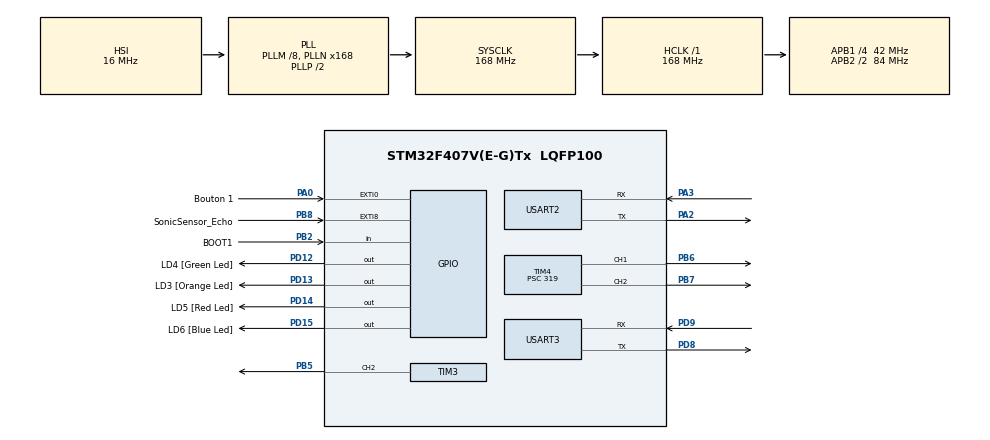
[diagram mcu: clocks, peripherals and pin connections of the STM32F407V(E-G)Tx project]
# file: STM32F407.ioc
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Mcu.Family=STM32F4
Mcu.Name=STM32F407V(E-G)Tx
Mcu.Package=LQFP100
NVIC.EXTI0_IRQn=true\:0\:0\:false\:false\:true\:true\:true\:true
NVIC.EXTI9_5_IRQn=true\:0\:0\:false\:false\:true\:true\:true\:true
NVIC.PriorityGroup=NVIC_PRIORITYGROUP_0
NVIC.TIM6_DAC_IRQn=true\:0\:0\:false\:false\:true\:true\:true\:true
NVIC.USART2_IRQn=true\:0\:0\:false\:false\:true\:true\:true\:true
PA0-WKUP.GPIO_Label=Bouton 1
PA0-WKUP.GPIO_PuPd=GPIO_PULLDOWN
PA0-WKUP.Signal=GPXTI0
PA13.GPIO_Label=SWDIO
PA13.Mode=Serial_Wire
PA13.Signal=SYS_JTMS-SWDIO
PA14.GPIO_Label=SWCLK
PA14.Mode=Serial_Wire
PA14.Signal=SYS_JTCK-SWCLK
PA2.Mode=Asynchronous
PA2.Signal=USART2_TX
PA3.Mode=Asynchronous
PA3.Signal=USART2_RX
PB2.GPIO_Label=BOOT1
PB2.GPIO_Mode=GPIO_MODE_INPUT
PB2.GPIO_PuPd=GPIO_NOPULL
PB2.Signal=GPIO_Input
PB5.Signal=S_TIM3_CH2
PB6.Signal=S_TIM4_CH1
PB7.Signal=S_TIM4_CH2
PB8.GPIO_Label=SonicSensor_Echo
PB8.GPIO_ModeDefaultEXTI=GPIO_MODE_IT_RISING_FALLING
PB8.GPIO_PuPd=GPIO_PULLDOWN
PB8.Signal=GPXTI8
PD12.GPIO_Label=LD4 [Green Led]
PD12.GPIO_PuPd=GPIO_NOPULL
PD12.GPIO_Speed=GPIO_SPEED_FREQ_LOW
PD12.Signal=GPIO_Output
PD13.GPIO_Label=LD3 [Orange Led]
PD13.GPIO_PuPd=GPIO_NOPULL
PD13.GPIO_Speed=GPIO_SPEED_FREQ_LOW
PD13.Signal=GPIO_Output
PD14.GPIO_Label=LD5 [Red Led]
PD14.GPIO_PuPd=GPIO_NOPULL
PD14.GPIO_Speed=GPIO_SPEED_FREQ_LOW
PD14.Signal=GPIO_Output
PD15.GPIO_Label=LD6 [Blue Led]
PD15.GPIO_PuPd=GPIO_NOPULL
PD15.GPIO_Speed=GPIO_SPEED_FREQ_LOW
PD15.Signal=GPIO_Output
PD8.Mode=Asynchronous
PD8.Signal=USART3_TX
PD9.Mode=Asynchronous
PD9.Signal=USART3_RX
ProjectManager.HeapSize=0x200
ProjectManager.StackSize=0x400
ProjectManager.TargetToolchain=Makefile
RCC.48MHZClocksFreq_Value=48000000
RCC.AHBFreq_Value=168000000
RCC.APB1CLKDivider=RCC_HCLK_DIV4
RCC.APB1Freq_Value=42000000
RCC.APB1TimFreq_Value=84000000
RCC.APB2CLKDivider=RCC_HCLK_DIV2
RCC.APB2Freq_Value=84000000
RCC.APB2TimFreq_Value=168000000
RCC.CortexFreq_Value=168000000
RCC.HCLKFreq_Value=168000000
RCC.HSE_VALUE=8000000
RCC.HSI_VALUE=16000000
RCC.LSE_VALUE=32768
RCC.PLLI2SN=50
RCC.PLLM=8
RCC.PLLN=168
RCC.PLLQ=7
RCC.SYSCLKFreq_VALUE=168000000
RCC.SYSCLKSource=RCC_SYSCLKSOURCE_PLLCLK
RCC.VCOOutputFreq_Value=336000000
SH.S_TIM3_CH2.0=TIM3_CH2,PWM Generation2 CH2
SH.S_TIM4_CH1.0=TIM4_CH1,PWM Generation1 CH1
SH.S_TIM4_CH2.0=TIM4_CH2,PWM Generation2 CH2
TIM3.Channel-PWM\ Generation2\ CH2=TIM_CHANNEL_2
TIM3.Period=59999
TIM3.Prescaler=28
TIM4.Channel-PWM\ Generation1\ CH1=TIM_CHANNEL_1
TIM4.Channel-PWM\ Generation2\ CH2=TIM_CHANNEL_2
TIM4.OCPolarity_2=TIM_OCPOLARITY_HIGH
TIM4.Period=65535
TIM4.Prescaler=319
TIM4.Pulse-PWM\ Generation2\ CH2=3
TIM6.Prescaler=2
USART2.VirtualMode=VM_ASYNC
USART3.VirtualMode=VM_ASYNC
VP_TIM6_VS_ClockSourceINT.Mode=Enable_Timer
board=STM32F407G-DISC1

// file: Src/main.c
/* USER CODE BEGIN Header */
/**
 ******************************************************************************
 * @file           : main.c
 * @brief          : Main program body
 ******************************************************************************
 * @attention
 *
 * Copyright (c) 2025 STMicroelectronics.
 * All rights reserved.
 *
 * This software is licensed under terms that can be found in the LICENSE file
 * in the root directory of this software component.
 * If no LICENSE file comes with this software, it is provided AS-IS.
 *
 ******************************************************************************
 */
/* USER CODE END Header */
#include "main.h"
#include "tim.h"
#include "usart.h"
#include "gpio.h"

/* USER CODE BEGIN Includes */
#include "stdio.h"
#include "stdlib.h"
#include "ultra_sonic.h"
#include "leds.h"
#include "servo.h"
#include "serial.h"
#include "string.h"
/* USER CODE END Includes */

/* USER CODE BEGIN PV */
/* USER CODE BEGIN PV */
uint8_t rxData[10];
volatile uint8_t rxFlag = 0;  // Indique la réception complète d'une trame UART
char buffer[10];
#define CMD_BUF_SIZE 32
uint8_t  rxChar;
char     cmdBuf[CMD_BUF_SIZE];
uint8_t  cmdLen = 0;
float distance;
/* USER CODE END PV */

void SystemClock_Config(void);

/* USER CODE BEGIN 0 */

// Global variables to store the distance

/* USER CODE END 0 */

int main(void)
{

  /* MCU Configuration--------------------------------------------------------*/

  /* Reset of all peripherals, Initializes the Flash interface and the Systick. */
  HAL_Init();

  /* Configure the system clock */
  SystemClock_Config();

  /* Initialize all configured peripherals */
  MX_GPIO_Init();
  MX_TIM6_Init();
  MX_TIM4_Init();
  MX_USART2_UART_Init();
  MX_TIM3_Init();
  MX_USART3_UART_Init();
  /* USER CODE BEGIN 2 */
  // Test the UART
  HAL_UART_Transmit(&huart2, (uint8_t *)"Program Start :\r\n", 13, HAL_MAX_DELAY);
  HAL_UART_Receive_IT(&huart2, &rxChar, 1);

  //
  SERIAL_Init();

  HAL_UART_Receive_IT(&huart3, &rxChar, 1);

  HAL_TIM_PWM_Start(&htim4, TIM_CHANNEL_1);

/* USER CODE BEGIN 2 */

// Initialisation des composants
LEDS_Init();
ULTRA_SONIC_Init();
SERVO_Init();
SERIAL_Init();
HAL_TIM_PWM_Start(&htim4, TIM_CHANNEL_1);

// Timer pour envoyer toutes les 250 ms
uint32_t lastTick = HAL_GetTick();

  /* USER CODE END 2 */

  /* Infinite loop */
  /* USER CODE BEGIN WHILE */
while (1)
{

    // Envoi périodique de la distance (250 ms)
    if (HAL_GetTick() - lastTick >= 250)
    {
        lastTick = HAL_GetTick();

        distance = ULTRA_SONIC_GetDistance();
        if (distance > 100) distance = 100;

        // Envoie distance sur UART
        sprintf(buffer, "sensor:%03d\n", (int)distance);
        SERIAL_SendString(buffer);
        HAL_UART_Transmit(&huart2, (uint8_t*)buffer, strlen(buffer), HAL_MAX_DELAY);

        LEDS_SetBlue(); // Indique l'activité
    }

    // Traitement de la commande reçue (non bloquant)
    if (rxFlag)
    {
        rxFlag = 0;

        // Parsing « servo:XX »
        if (strncmp(cmdBuf, "servo:", 6) == 0)
        {
            int pct = atoi(cmdBuf + 6);
            if (pct >= 0 && pct <= 100)
            {
                SERVO_set_servo_percentage(pct);
                HAL_UART_Transmit(&huart3, (uint8_t *)"Servo moved\r\n", 13, HAL_MAX_DELAY);
            }
            else
            {
                HAL_UART_Transmit(&huart3, (uint8_t *)"Pct invalide (0-100)\r\n", 21, HAL_MAX_DELAY);
            }
        }
        else
        {
            HAL_UART_Transmit(&huart3, (uint8_t *)"Cmd invalide\r\n", 14, HAL_MAX_DELAY);
        }
    }
}
    /* USER CODE END WHILE */

}

void SystemClock_Config(void)
{
  RCC_OscInitTypeDef RCC_OscInitStruct = {0};
  RCC_ClkInitTypeDef RCC_ClkInitStruct = {0};

  /** Configure the main internal regulator output voltage
  */
  __HAL_RCC_PWR_CLK_ENABLE();
  __HAL_PWR_VOLTAGESCALING_CONFIG(PWR_REGULATOR_VOLTAGE_SCALE1);

  /** Initializes the RCC Oscillators according to the specified parameters
  * in the RCC_OscInitTypeDef structure.
  */
  RCC_OscInitStruct.OscillatorType = RCC_OSCILLATORTYPE_HSI;
  RCC_OscInitStruct.HSIState = RCC_HSI_ON;
  RCC_OscInitStruct.HSICalibrationValue = RCC_HSICALIBRATION_DEFAULT;
  RCC_OscInitStruct.PLL.PLLState = RCC_PLL_ON;
  RCC_OscInitStruct.PLL.PLLSource = RCC_PLLSOURCE_HSI;
  RCC_OscInitStruct.PLL.PLLM = 8;
  RCC_OscInitStruct.PLL.PLLN = 168;
  RCC_OscInitStruct.PLL.PLLP = RCC_PLLP_DIV2;
  RCC_OscInitStruct.PLL.PLLQ = 7;
  if (HAL_RCC_OscConfig(&RCC_OscInitStruct) != HAL_OK)
  {
    Error_Handler();
  }

  /** Initializes the CPU, AHB and APB buses clocks
  */
  RCC_ClkInitStruct.ClockType = RCC_CLOCKTYPE_HCLK|RCC_CLOCKTYPE_SYSCLK
                              |RCC_CLOCKTYPE_PCLK1|RCC_CLOCKTYPE_PCLK2;
  RCC_ClkInitStruct.SYSCLKSource = RCC_SYSCLKSOURCE_PLLCLK;
  RCC_ClkInitStruct.AHBCLKDivider = RCC_SYSCLK_DIV1;
  RCC_ClkInitStruct.APB1CLKDivider = RCC_HCLK_DIV4;
  RCC_ClkInitStruct.APB2CLKDivider = RCC_HCLK_DIV2;

  if (HAL_RCC_ClockConfig(&RCC_ClkInitStruct, FLASH_LATENCY_5) != HAL_OK)
  {
    Error_Handler();
  }
}

/* USER CODE BEGIN 4 */

void HAL_UART_RxCpltCallback(UART_HandleTypeDef *huart)
{
    if (huart->Instance == USART2)
    {

        // Afficher caractère par caractère
        HAL_UART_Transmit(&huart2, &rxChar, 1, HAL_MAX_DELAY);
        // Stocke dans le tampon
        if (cmdLen < CMD_BUF_SIZE-1)
            cmdBuf[cmdLen++] = rxChar;

        // Si fin de ligne, on lève le flag
        if (rxChar == '\n' || rxChar == '\r')
        {
            cmdBuf[cmdLen] = '\0';
            rxFlag = 1;
            cmdLen  = 0;
        }

        HAL_UART_Transmit(&huart3, (uint8_t *)"Received: ", 10, HAL_MAX_DELAY);
        HAL_UART_Transmit(&huart3, (uint8_t *)cmdBuf, strlen(cmdBuf), HAL_MAX_DELAY);
        // Réarme tout de suite la réception
        HAL_UART_Receive_IT(huart, &rxChar, 1);
    }
}

/* USER CODE END 4 */

void Error_Handler(void)
{
  __disable_irq();
  while (1)
  {
  }
}
